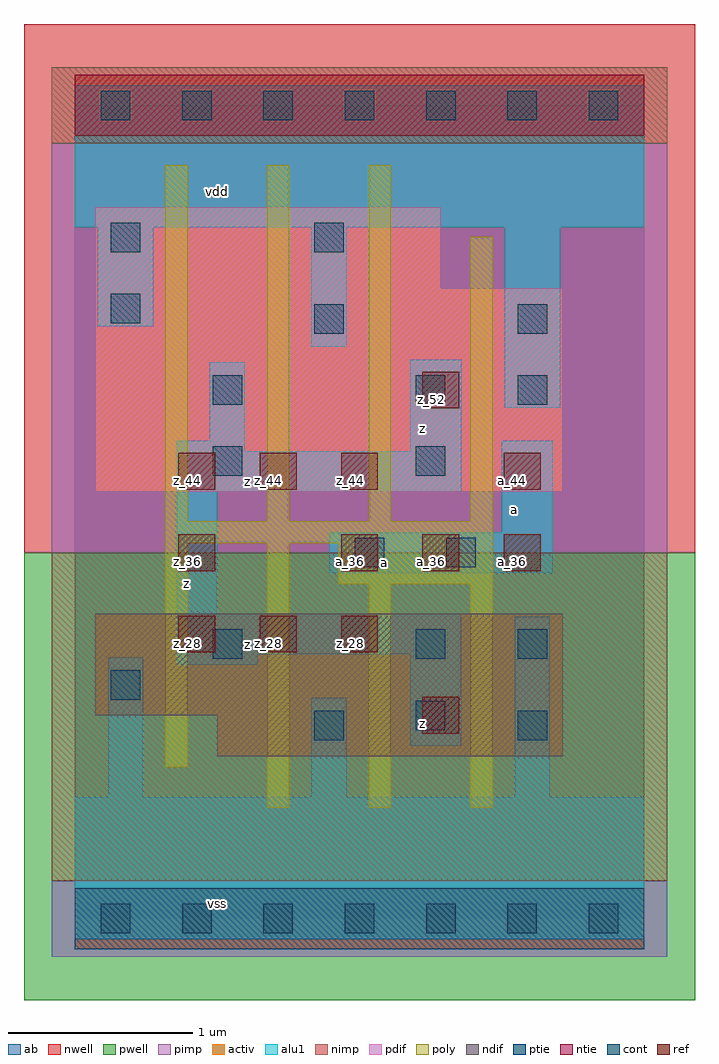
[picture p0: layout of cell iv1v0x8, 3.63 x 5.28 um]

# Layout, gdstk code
import gdstk
lib = gdstk.Library(unit=1e-6, precision=2.5e-09)
def R(c, l, rs):  # rectangles x0, y0, x1, y1
    for r in rs: c.add(gdstk.rectangle(r[:2], r[2:], *l))
def A(c, l, x, y, w, h, nx, ny, dx, dy):  # array of equal rectangles
    R(c, l, [(x+i*dx, y+j*dy, x+i*dx+w, y+j*dy+h) for i in range(nx) for j in range(ny)])
ndif = (3, 0)
pdif = (4, 0)
ntie = (5, 0)
ptie = (6, 0)
ref = (24, 0)
cont = (25, 0)
pwell = (41, 0)
nwell = (42, 0)
activ = (43, 0)
pimp = (44, 0)
nimp = (45, 0)
poly = (46, 0)
alu1 = (49, 0)
ab = (63, 0)

iv1v0x8 = lib.new_cell('iv1v0x8')
R(iv1v0x8, ndif, [(0.77,0.88,2.64,1.1), (0.11,1.1,2.64,1.65)])
R(iv1v0x8, pdif, [(0.11,2.31,2.64,3.41), (0.11,3.41,1.98,3.85)])
R(iv1v0x8, ntie, [(0,4.235,3.08,4.565)])
R(iv1v0x8, ptie, [(0,-0.165,3.08,0.165)])
A(iv1v0x8, ref, 0.56, 1.44, 0.2, 0.2, 3, 2, 0.44, 0.88)
A(iv1v0x8, ref, 1.44, 1.88, 0.2, 0.2, 3, 1, 0.44, 0)
R(iv1v0x8, ref, [(1.88,1,2.08,1.2), (0.56,1.88,0.76,2.08), (2.32,2.32,2.52,2.52), (1.88,2.76,2.08,2.96)])
A(iv1v0x8, cont, 0.14, -0.08, 0.16, 0.16, 7, 2, 0.44, 4.4)
R(iv1v0x8, cont, [(1.295,0.965,1.455,1.125), (2.395,0.965,2.555,1.125), (1.845,1.02,2.005,1.18), (0.195,1.185,0.355,1.345), (0.745,1.405,0.905,1.565), (1.845,1.405,2.005,1.565), (2.395,1.405,2.555,1.565), (1.515,1.9,1.675,2.06), (2.01,1.9,2.17,2.06), (0.745,2.395,0.905,2.555), (1.845,2.395,2.005,2.555), (0.745,2.78,0.905,2.94), (1.845,2.78,2.005,2.94), (2.395,2.78,2.555,2.94), (1.295,3.165,1.455,3.325), (2.395,3.165,2.555,3.325), (0.195,3.22,0.355,3.38), (0.195,3.605,0.355,3.765), (1.295,3.605,1.455,3.765)])
R(iv1v0x8, pwell, [(-0.275,-0.44,3.355,1.98)])
R(iv1v0x8, nwell, [(-0.275,1.98,3.355,4.84)])
R(iv1v0x8, activ, [(0,-0.165,3.08,0.165), (0.77,0.88,2.64,1.1), (0.11,1.1,2.64,1.65), (0.11,2.31,2.64,3.41), (0.11,3.41,1.98,3.85), (0,4.235,3.08,4.565)])
R(iv1v0x8, pimp, [(-0.125,-0.205,3.205,0.205), (-0.125,1.98,3.205,4.195)])
R(iv1v0x8, nimp, [(-0.125,0.205,3.205,1.98), (-0.125,4.195,3.205,4.605)])
A(iv1v0x8, poly, 0.49, 2.15, 0.12, 1.925, 3, 1, 0.55, 0)
R(iv1v0x8, poly, [(1.04,0.6,1.16,2.03), (1.59,0.6,1.71,1.81), (2.14,0.6,2.26,1.81), (0.49,0.82,0.61,2.03), (1.425,1.81,2.26,2.03), (0.49,2.03,2.26,2.15), (2.14,2.15,2.26,3.69)])
R(iv1v0x8, alu1, [(0,-0.11,3.08,0.66), (0.18,0.66,0.37,1.415), (1.28,0.66,1.47,1.195), (2.38,0.66,2.57,1.635), (1.815,0.935,2.09,1.43), (0.55,1.375,0.99,1.43), (0.55,1.43,2.09,1.65), (0.55,1.65,0.77,2.31), (1.375,1.87,2.585,2.09), (2.31,2.09,2.585,2.585), (0.55,2.31,2.09,2.53), (0.55,2.53,0.92,2.585), (1.815,2.53,2.09,3.025), (0.73,2.585,0.92,3.01), (2.325,2.765,2.625,3.74), (1.28,3.095,1.47,3.74), (0.125,3.205,0.425,3.74), (0,3.74,3.08,4.51)])
R(iv1v0x8, ab, [(0,0,3.08,4.4)])
iv1v0x8.add(gdstk.Label('vss', (0.77,0.0825), layer=49, texttype=0))
iv1v0x8.add(gdstk.Label('z', (1.8825,1.0575), layer=49, texttype=0))
iv1v0x8.add(gdstk.Label('z', (0.935,1.485), layer=49, texttype=0))
iv1v0x8.add(gdstk.Label('a', (1.6775,1.925), layer=49, texttype=0))
iv1v0x8.add(gdstk.Label('a', (2.3775,2.2125), layer=49, texttype=0))
iv1v0x8.add(gdstk.Label('z', (0.605,1.815), layer=49, texttype=0))
iv1v0x8.add(gdstk.Label('z', (0.935,2.365), layer=49, texttype=0))
iv1v0x8.add(gdstk.Label('z', (1.8825,2.6525), layer=49, texttype=0))
iv1v0x8.add(gdstk.Label('vdd', (0.77,3.9325), layer=49, texttype=0))
iv1v0x8.add(gdstk.Label('z_28', (0.61,1.49), layer=24, texttype=0))
iv1v0x8.add(gdstk.Label('z_36', (0.61,1.93), layer=24, texttype=0))
iv1v0x8.add(gdstk.Label('z_44', (0.61,2.37), layer=24, texttype=0))
iv1v0x8.add(gdstk.Label('z_28', (1.05,1.49), layer=24, texttype=0))
iv1v0x8.add(gdstk.Label('z_44', (1.05,2.37), layer=24, texttype=0))
iv1v0x8.add(gdstk.Label('z_28', (1.49,1.49), layer=24, texttype=0))
iv1v0x8.add(gdstk.Label('a_36', (1.49,1.93), layer=24, texttype=0))
iv1v0x8.add(gdstk.Label('z_44', (1.49,2.37), layer=24, texttype=0))
iv1v0x8.add(gdstk.Label('z_20', (1.93,1.05), layer=24, texttype=0))
iv1v0x8.add(gdstk.Label('a_36', (1.93,1.93), layer=24, texttype=0))
iv1v0x8.add(gdstk.Label('z_52', (1.93,2.81), layer=24, texttype=0))
iv1v0x8.add(gdstk.Label('a_36', (2.37,1.93), layer=24, texttype=0))
iv1v0x8.add(gdstk.Label('a_44', (2.37,2.37), layer=24, texttype=0))

lib.write_gds('iv1v0x8.gds')
